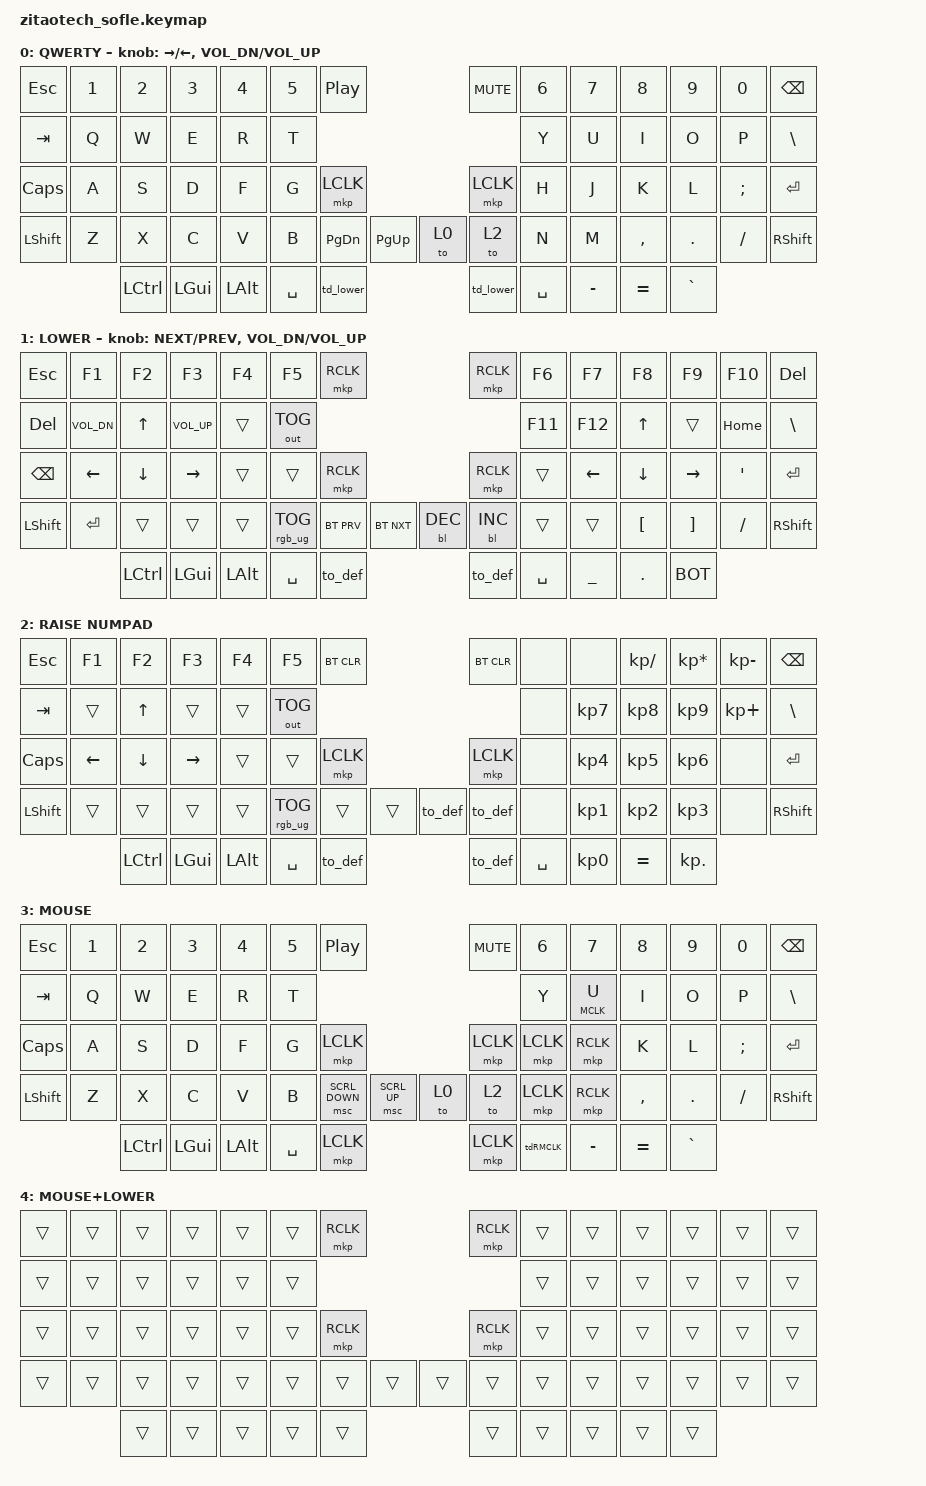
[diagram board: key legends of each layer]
/*
 * Copyright (c) 2025 ZitaoTech
 *
 * SPDX-License-Identifier: MIT
 */

#include <behaviors.dtsi>
#include <dt-bindings/zmk/keys.h>
#include <dt-bindings/zmk/bt.h>
#include <dt-bindings/zmk/outputs.h>
#include <dt-bindings/zmk/mouse.h>
#include <dt-bindings/zmk/backlight.h>
#include <dt-bindings/zmk/ext_power.h>
#include <dt-bindings/zmk/rgb.h>
#include <zephyr/dt-bindings/input/input-event-codes.h>

#define FUNC 1
#define RES 2
#define BOT bootloader

/ {
    input_processors {
        zip_temp_layer: zip_temp_layer {
            compatible = "zmk,input-processor-temp-layer";
            #input-processor-cells = <2>;
        };

        ip_behaviors0: ip_behaviors0 {
            compatible = "zmk,input-processor-behaviors";
            #input-processor-cells = <0>;
            type = <INPUT_EV_KEY>;
            codes = <INPUT_BTN_0>;
            bindings = <&kp RIGHT>;
        };

        ip_behaviors1: ip_behaviors1 {
            compatible = "zmk,input-processor-behaviors";
            #input-processor-cells = <0>;
            type = <INPUT_EV_KEY>;
            codes = <INPUT_BTN_1>;
            bindings = <&kp LEFT>;
        };

        ip_behaviors2: ip_behaviors2 {
            compatible = "zmk,input-processor-behaviors";
            #input-processor-cells = <0>;
            type = <INPUT_EV_KEY>;
            codes = <INPUT_BTN_2>;
            bindings = <&kp DOWN>;
        };

        ip_behaviors3: ip_behaviors3 {
            compatible = "zmk,input-processor-behaviors";
            #input-processor-cells = <0>;
            type = <INPUT_EV_KEY>;
            codes = <INPUT_BTN_3>;
            bindings = <&kp UP>;
        };
    };

    behaviors {
        td0: tap_dance_0 {
            compatible = "zmk,behavior-tap-dance";
            #binding-cells = <0>;
            tapping-term-ms = <400>;
            bindings = <&mkp LCLK>, <&bt BT_CLR>;
        };

        tdRMCLK: tap_dance_R_MMouse {
            compatible = "zmk,behavior-tap-dance";
            #binding-cells = <0>;
            tapping-term-ms = <400>;
            bindings = <&mkp RCLK>, <&mkp MCLK>;
        };

        td_lower: hold_lower_double_to_lower {
            compatible = "zmk,behavior-tap-dance";
            #binding-cells = <0>;
            tapping-term-ms = <400>;
            bindings = <&mo 1>, <&to 1>;
        };

        td_raise: hold_raise_double_to_raise {
            compatible = "zmk,behavior-tap-dance";
            #binding-cells = <0>;
            tapping-term-ms = <400>;
            bindings = <&mo 2>, <&to 2>;
        };

        to_def: to_QWERTY {
            compatible = "zmk,behavior-tap-dance";
            #binding-cells = <0>;
            tapping-term-ms = <200>;
            bindings = <&to 0>, <&to 0>;
        };

        hm: homerow_mods {
            compatible = "zmk,behavior-hold-tap";
            #binding-cells = <2>;
            tapping-term-ms = <500>;
            bindings = <&kp &kp>;
        };

        sp_sc: behavior_spacescroll {
            compatible = "zmk,behavior-hold-tap";
            #binding-cells = <2>;
            flavor = "tap-preferred";
            tapping-term-ms = <200>;
            bindings = <&none &kp>;
        };

        LMouse_sc: behavior_LMouse_Scroll {
            compatible = "zmk,behavior-hold-tap";
            #binding-cells = <2>;
            flavor = "tap-preferred";
            tapping-term-ms = <200>;
            bindings = <&none &mkp>;
        };

        M_kp: behavior_mouse_keypress {
            compatible = "zmk,behavior-hold-tap";
            #binding-cells = <2>;
            flavor = "tap-preferred";
            tapping-term-ms = <200>;
            bindings = <&mkp &kp>;
        };

        BLE_encoder: BLE_encoder {
            compatible = "zmk,behavior-sensor-rotate";
            #sensor-binding-cells = <0>;
            bindings = <&bt BT_NXT>, <&bt BT_PRV>;
        };
    };

    conditional_layers {
        compatible = "zmk,conditional-layers";

        mouse_lower_click {
            /* If auto MOUSE (3) is still active while LOWER (1) is held,
             * layer 4 wins only for the physical BB click positions.
             * This guarantees LOWER + either BB pad click = right click.
             */
            if-layers = <1 3>;
            then-layer = <4>;
        };
    };

    keymap {
        compatible = "zmk,keymap";

        /* v6.4.11 synchronized stock/user keymap.
         * v6.4.1 right BB auxiliary buttons:
         * QWERTY/MOUSE: left small button -> QWERTY, right -> RAISE
         * RAISE: either small button -> named to_QWERTY behavior (direct QWERTY switch)
         * LOWER keeps BL_DEC/BL_INC for trackpad sensitivity tuning.
         * RAISE H/N positions are hard-disabled with &none (not transparent).
         * LOWER + physical Backspace key -> Bluetooth clear (BT_CLR).
         * QWERTY rotary push: LEFT = Play/Pause, RIGHT = Mute.
         * v6.4.11 aligns raw rotary/pad matrix positions so these top Studio slots match the physical knobs.
         * BB pad press: LCLK on QWERTY/MOUSE/RAISE, RCLK on LOWER/RES.
         * MOUSE home cluster: H/N = MB1 immediately, J/M = MB2 immediately; no letter output on MOUSE layer.
         * Rotary media is mirrored on MOUSE layer too so the 600 ms auto-MOUSE layer cannot steal knob pushes as LCLK.
         */

        default_layer {
            display-name = "QWERTY";
            bindings = <
&kp ESC   &kp N1   &kp N2     &kp N3   &kp N4    &kp N5    &kp C_PP                       &kp C_MUTE                      &kp N6      &kp N7      &kp N8    &kp N9    &kp N0   &kp BSPC
&kp TAB   &kp Q    &kp W      &kp E    &kp R     &kp T                                                                  &kp Y       &kp U       &kp I     &kp O     &kp P    &kp BSLH
&kp CAPS  &kp A    &kp S      &kp D    &kp F     &kp G     &mkp LCLK                     &mkp LCLK                      &kp H       &kp J       &kp K     &kp L     &kp SEMI &kp ENTER
&kp LSHFT &kp Z    &kp X      &kp C    &kp V     &kp B     &kp PG_DN  &kp PG_UP          &to 0           &to 2           &kp N       &kp M       &kp COMMA &kp DOT   &kp FSLH &kp RSHIFT
                   &kp LCTRL  &kp LGUI &kp LALT  &kp SPACE &td_lower                                     &td_lower      &kp SPACE   &kp MINUS   &kp EQUAL    &kp GRAVE
            >;
            sensor-bindings = <&inc_dec_kp RIGHT LEFT &inc_dec_kp C_VOL_DN C_VOL_UP>;
        };

        lower_layer {
            display-name = "LOWER";
            bindings = <
&kp ESC     &kp F1    &kp F2     &kp F3    &kp F4    &kp F5           &mkp RCLK                    &mkp RCLK             &kp F6    &kp F7   &kp F8     &kp F9    &kp F10    &kp DEL
&kp DEL     &kp C_VOL_DN &kp UP  &kp C_VOL_UP &trans &out OUT_TOG                                                         &kp F11   &kp F12  &kp UP     &trans    &kp HOME   &kp BSLH
&kp BSPC    &kp LEFT  &kp DOWN   &kp RIGHT &trans    &trans           &mkp RCLK                    &mkp RCLK              &trans    &kp LEFT &kp DOWN   &kp RIGHT &kp APOS   &kp ENTER
&kp LSHFT   &kp ENTER &trans     &trans    &trans    &rgb_ug RGB_TOG  &bt BT_PRV   &bt BT_NXT      &bl BL_DEC  &bl BL_INC &trans    &trans   &kp LBKT   &kp RBKT  &kp FSLH   &kp RSHIFT
                      &kp LCTRL  &kp LGUI  &kp LALT  &kp SPACE        &to_def                                &to_def      &kp SPACE &kp UNDERSCORE   &kp DOT    &BOT
            >;
            sensor-bindings = <&inc_dec_kp C_NEXT C_PREV &inc_dec_kp C_VOL_DN C_VOL_UP>;
        };

        raise_layer {
            display-name = "RAISE NUMPAD";
            bindings = <
&kp ESC     &kp F1    &kp F2     &kp F3    &kp F4    &kp F5           &bt BT_CLR                   &bt BT_CLR             &none     &none     &kp KP_DIVIDE   &kp KP_MULTIPLY &kp KP_MINUS &kp BSPC
&kp TAB     &trans    &kp UP     &trans    &trans    &out OUT_TOG                                                          &none     &kp KP_N7  &kp KP_N8       &kp KP_N9       &kp KP_PLUS  &kp BSLH
&kp CAPS    &kp LEFT  &kp DOWN   &kp RIGHT &trans    &trans           &mkp LCLK                    &mkp LCLK              &none     &kp KP_N4 &kp KP_N5       &kp KP_N6       &none        &kp ENTER
&kp LSHFT   &trans    &trans     &trans    &trans    &rgb_ug RGB_TOG  &trans      &trans           &to_def  &to_def        &none     &kp KP_N1 &kp KP_N2       &kp KP_N3       &none        &kp RSHIFT
                      &kp LCTRL  &kp LGUI  &kp LALT  &kp SPACE        &to_def                                &to_def       &kp SPACE &kp KP_N0 &kp EQUAL    &kp KP_DOT
            >;
        };

        MOUSE_layer {
            display-name = "MOUSE";
            bindings = <
&kp ESC   &kp N1    &kp N2     &kp N3   &kp N4   &kp N5     &kp C_PP                          &kp C_MUTE      &kp N6     &kp N7         &kp N8    &kp N9    &kp N0   &kp BSPC
&kp TAB   &kp Q     &kp W      &kp E    &kp R    &kp T                                                        &kp Y      &M_kp MCLK U    &kp I     &kp O     &kp P    &kp BSLH
&kp CAPS  &kp A     &kp S      &kp D    &kp F    &kp G      &mkp LCLK                        &mkp LCLK        &mkp LCLK   &mkp RCLK    &kp K     &kp L     &kp SEMI &kp ENTER
&kp LSHFT &kp Z     &kp X      &kp C    &kp V    &kp B      &msc SCRL_DOWN   &msc SCRL_UP    &to 0  &to 2     &mkp LCLK   &mkp RCLK    &kp COMMA &kp DOT   &kp FSLH &kp RSHIFT
                    &kp LCTRL  &kp LGUI &kp LALT &kp SPACE  &mkp LCLK                         &mkp LCLK &tdRMCLK   &kp MINUS      &kp EQUAL    &kp GRAVE
            >;
        };

        RES_layer {
            display-name = "MOUSE+LOWER";
            bindings = <
&trans    &trans    &trans     &trans   &trans   &trans    &mkp RCLK                      &mkp RCLK       &trans    &trans    &trans   &trans   &trans   &trans
&trans    &trans    &trans     &trans   &trans   &trans                                                   &trans    &trans    &trans   &trans   &trans   &trans
&trans    &trans    &trans     &trans   &trans   &trans    &mkp RCLK                      &mkp RCLK       &trans    &trans    &trans   &trans   &trans   &trans
&trans    &trans    &trans     &trans   &trans   &trans    &trans      &trans             &trans  &trans   &trans    &trans    &trans   &trans   &trans   &trans
                    &trans     &trans   &trans   &trans    &trans                             &trans        &trans   &trans   &trans   &trans
            >;
        };
    };
};
